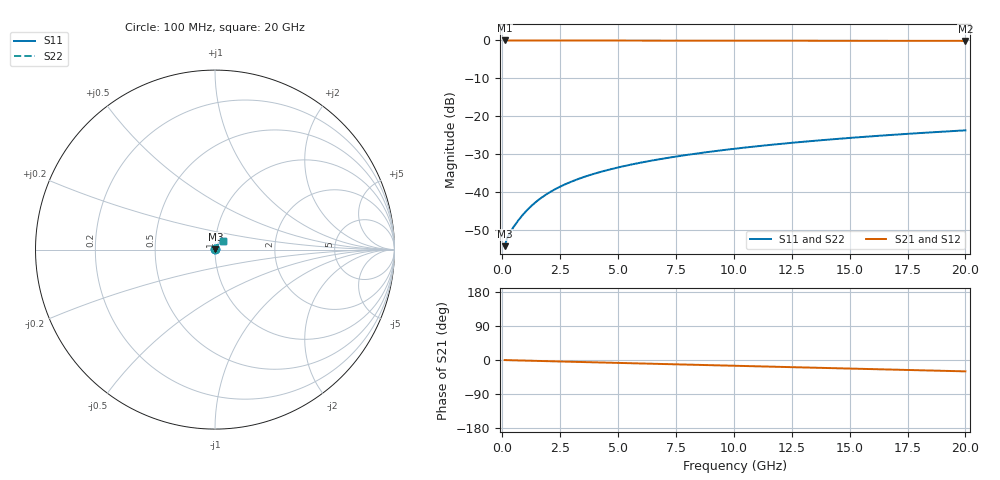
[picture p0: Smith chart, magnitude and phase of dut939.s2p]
! Touchstone file exported from HFSS 2026.1.0
!  File:  C:/ffzhzh/LocalFiles/Ansys_Project_Files/temp_train_BSMRDL_939_1783172021_43440.aedt
!  Generated:  09:34:49 PM Jul  4, 2026
!  Design:  BSMRDL
!  Project:  temp_train_BSMRDL_939_1783172021_43440
! Variables:
!  h_bsmrdl = 5.17um
!  h_ox = 20um
!  h_rdl = 5um
!  h_sub = 80um
!  h_tmrdl = 5um
!  h_tsv = 80um
!  h_via = 3um
!  l_bsmrdl = 526.97um
!  l_sub = 926.97um
!  l_tmrdl = 200um
!  m_sub = 200um
!  pitch = 31.13um
!  r_tsv = 6um
!  s_tmrdl = 10um
!  w_bsmrdl = 23.83um
!  w_sub = 500um
!  w_tmrdl = 12um
!  x_tsv_center1 = 206um
!  x_tsv_center2 = 756.8um
!  x_tsv_center3 = 968.8um
!  x_tsv_center4 = 1519.6um
!  x_tsv_center5 = 1731.6um
!  x_tsv_center6 = 2282.4um
# GHz S MA R 50.000000
! Terminal data exported
! Port[1] = BSM_RDL1_1_T1
! Port[2] = BSM_RDL1_1_T2
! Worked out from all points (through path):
!   200 points, 100 MHz to 20 GHz, reference 50 ohm
!   highest |S21| = -0.02 dB at 100 MHz (marker M1); lowest = -0.1 dB at 20 GHz (marker M2)
!   group delay of S21, straight-line fit = 4.15 ps
!   lowest |S11| = -54.2 dB at 100 MHz (marker M3), VSWR 1.00, Z = 50.2 + j0.0795 ohm
!   |S11| at or under -10 dB: start of sweep to end of sweep
!   |S22| runs from -54.2 to -23.7 dB; largest |S21 - S12| = 1.1e-14
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0.1  0.001939 24.1  0.9982 -0.2  0.9982 -0.2  0.001939 24.1
! Gamma 0 0 0 0
! Port Impedance 50 0 50 0
0.2  0.002422 33.3  0.998 -0.3  0.998 -0.3  0.002429 33.4
0.3  0.00281 38.7  0.9978 -0.5  0.9978 -0.5  0.002826 38.8
0.5  0.003522 47.4  0.9975 -0.8  0.9975 -0.8  0.003542 47.3
0.7  0.004278 53.8  0.9974 -1.1  0.9974 -1.1  0.004292 53.6
0.9  0.005083 58.3  0.9973 -1.4  0.9973 -1.4  0.005091 58.1
1.1  0.005919 61.4  0.9972 -1.7  0.9972 -1.7  0.005921 61.2
1.3  0.00677 63.5  0.997 -2.1  0.997 -2.1  0.006768 63.3
1.7  0.008481 66.0  0.9968 -2.7  0.9968 -2.7  0.008473 65.9
2.2  0.01059 67.3  0.9964 -3.4  0.9964 -3.4  0.01058 67.2
2.8  0.01302 67.7  0.9959 -4.4  0.9959 -4.4  0.01302 67.7
3.5  0.01573 67.5  0.9953 -5.4  0.9953 -5.4  0.01573 67.5
4.2  0.01832 67.0  0.9946 -6.5  0.9946 -6.5  0.01832 67.0
5  0.02115 66.3  0.9939 -7.7  0.9939 -7.7  0.02116 66.2
5.8  0.02388 65.6  0.9933 -8.9  0.9933 -8.9  0.02389 65.5
6.8  0.02718 64.6  0.9926 -10.4  0.9926 -10.4  0.0272 64.5
8.3  0.03197 63.1  0.9916 -12.6  0.9916 -12.6  0.032 63.0
10.1  0.03753 61.2  0.9905 -15.3  0.9905 -15.3  0.03756 61.1
11.7  0.04232 59.5  0.9896 -17.7  0.9896 -17.7  0.04237 59.3
13.4  0.04728 57.5  0.9886 -20.2  0.9886 -20.2  0.04734 57.3
16.7  0.05652 53.6  0.9869 -25.1  0.9869 -25.1  0.05659 53.3
20  0.06519 49.5  0.9853 -30.0  0.9853 -30.0  0.06529 49.1
